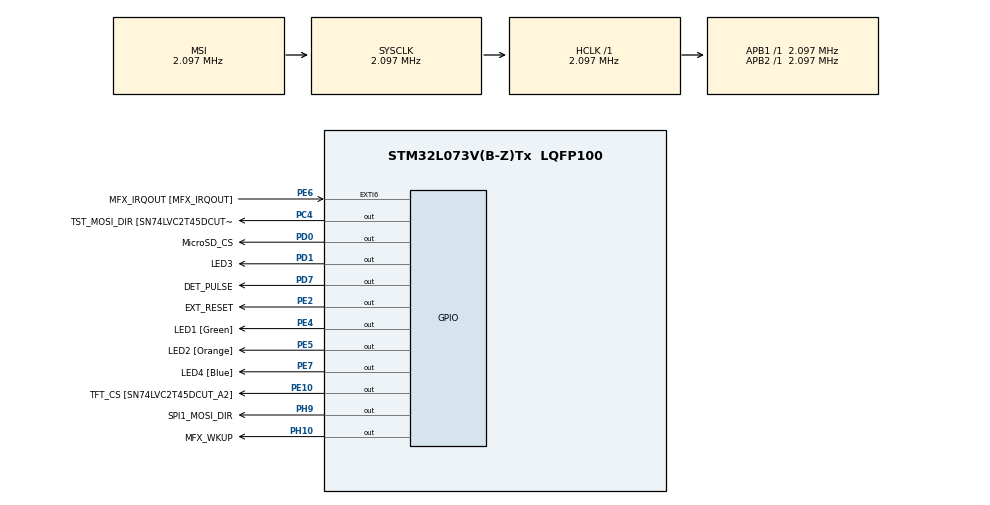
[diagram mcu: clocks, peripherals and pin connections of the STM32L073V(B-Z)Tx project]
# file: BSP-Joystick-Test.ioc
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Mcu.Family=STM32L0
Mcu.Name=STM32L073V(B-Z)Tx
Mcu.Package=LQFP100
NVIC.EXTI4_15_IRQn=true\:0\:0\:false\:false\:true\:true
PA0.GPIO_Label=PRESSURE [TSZ122IST_1]
PA0.Signal=ADC_IN0
PA11.GPIO_Label=USB_DM
PA11.Signal=USB_DM
PA12.GPIO_Label=USB_DP
PA12.Signal=USB_DP
PA13.GPIO_Label=SWDIO
PA13.Signal=SYS_SWDIO
PA14.GPIO_Label=SWCLK
PA14.Signal=SYS_SWCLK
PA4.GPIO_Label=DAC OUT1
PA4.Signal=COMP_DAC1_group
PA5.GPIO_Label=ADC_IN5
PA5.Signal=ADC_IN5
PA7.GPIO_Label=DET_COMP2_OUT [TP18]
PA7.Signal=COMP2_OUT
PB3.GPIO_Label=DET_COMP2_INM
PB3.Signal=COMP2_INM
PB4.GPIO_Label=DET_COMP2_INP
PB4.Signal=COMP2_INP
PB5.GPIO_Label=TempSensor_INT [STLM75M2F_OS/INT]
PB5.Signal=I2C1_SMBA
PB6.GPIO_Label=I2C1_SCL [STLM75M2F_SCL]
PB6.Signal=I2C1_SCL
PB7.GPIO_Label=I2C1_SDA [STLM75M2F_SDA]
PB7.Signal=I2C1_SDA
PC0.GPIO_Label=DET_LPTIM_CH1 [TS862AIPT_9]
PC0.Signal=LPTIM1_IN1
PC13.GPIO_Label=KEY [B2]
PC13.Signal=SYS_WKUP2
PC14-OSC32_IN.Signal=RCC_OSC32_IN
PC15-OSC32_OUT.Signal=RCC_OSC32_OUT
PC4.GPIO_Label=TST_MOSI_DIR [SN74LVC2T45DCUT_DIR]
PC4.Signal=GPIO_Output
PD0.GPIO_Label=MicroSD_CS
PD0.Signal=GPIO_Output
PD1.GPIO_Label=LED3
PD1.GPIO_ModeDefaultOutputPP=GPIO_MODE_OUTPUT_OD
PD1.Signal=GPIO_Output
PD11.GPIO_Label=LPUART_CTS_3V3 [ST3241EBPR_R4OUT]
PD11.Signal=LPUART1_CTS
PD12.GPIO_Label=LPUART_RTS [SN74LVC2T45DCUT_A2]
PD12.Signal=LPUART1_RTS
PD3.GPIO_Label=USART2_CTS_3V3 [ST3241EBPR_R4OUT]
PD3.Signal=USART2_CTS
PD4.GPIO_Label=USART2_RTS [N74LVC2T45DCUT_A2]
PD4.Signal=USART2_RTS
PD5.GPIO_Label=USART2_TX [N74LVC2T45DCUT_A1]
PD5.Signal=USART2_TX
PD6.GPIO_Label=USART2_RX_3V3 [ST3241EBPR_R3OUT]
PD6.Signal=USART2_RX
PD7.GPIO_Label=DET_PULSE
PD7.GPIO_ModeDefaultOutputPP=GPIO_MODE_OUTPUT_OD
PD7.Signal=GPIO_Output
PD8.GPIO_Label=LPUART_TX [SN74LVC2T45DCUT_A1]
PD8.Signal=LPUART1_TX
PD9.GPIO_Label=LPUART_RX_3V3 [ST3241EBPR_R3OUT]
PD9.Signal=LPUART1_RX
PE10.GPIO_Label=TFT_CS [SN74LVC2T45DCUT_A2]
PE10.Signal=GPIO_Output
PE13.GPIO_Label=SPI1_SCK [SN74LVC2T45DCUT_A1]
PE13.Signal=SPI1_SCK
PE14.GPIO_Label=SPI1_MISO_3V3
PE14.Signal=SPI1_MISO
PE15.GPIO_Label=SPI1_MOSI [SN74LVC2T45DCUT_A1]
PE15.Signal=SPI1_MOSI
PE2.GPIO_Label=EXT_RESET
PE2.Signal=GPIO_Output
PE4.GPIO_Label=LED1 [Green]
PE4.GPIO_ModeDefaultOutputPP=GPIO_MODE_OUTPUT_OD
PE4.Signal=GPIO_Output
PE5.GPIO_Label=LED2 [Orange]
PE5.GPIO_ModeDefaultOutputPP=GPIO_MODE_OUTPUT_OD
PE5.Signal=GPIO_Output
PE6.GPIO_Label=MFX_IRQOUT [MFX_IRQOUT]
PE6.Signal=GPXTI6
PE7.GPIO_Label=LED4 [Blue]
PE7.GPIO_ModeDefaultOutputPP=GPIO_MODE_OUTPUT_OD
PE7.Signal=GPIO_Output
PE8.GPIO_Label=USART4_TX [SN74LVC2T45DCUT_A1]
PE8.Signal=USART4_TX
PE9.GPIO_Label=USART4_RX_3V3
PE9.Signal=USART4_RX
PH10.GPIO_Label=MFX_WKUP
PH10.Signal=GPIO_Output
PH9.GPIO_Label=SPI1_MOSI_DIR
PH9.Signal=GPIO_Output
ProjectManager.HeapSize=0x200
ProjectManager.StackSize=0x400
ProjectManager.TargetToolchain=SW4STM32
RCC.AHBFreq_Value=2097000
RCC.APB1Freq_Value=2097000
RCC.APB1TimFreq_Value=2097000
RCC.APB2Freq_Value=2097000
RCC.APB2TimFreq_Value=2097000
RCC.HSE_VALUE=8000000
RCC.HSI16_VALUE=16000000
RCC.HSI48_VALUE=48000000
RCC.HSI_VALUE=16000000
RCC.LSE_VALUE=32768
RCC.MSI_VALUE=2097000
RCC.SYSCLKFreq_VALUE=2097000
RCC.VCOOutputFreq_Value=48000000
SH.COMP_DAC1_group.0=DAC_OUT1
board=STM32L073Z-EVAL

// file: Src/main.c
/**
  ******************************************************************************
  * File Name          : main.c
  * Description        : Main program body
  ******************************************************************************
  ** This notice applies to any and all portions of this file
  * that are not between comment pairs USER CODE BEGIN and
  * USER CODE END. Other portions of this file, whether
  * inserted by the user or by software development tools
  * are owned by their respective copyright owners.
  *
  * COPYRIGHT(c) 2017 STMicroelectronics
  *
  * Redistribution and use in source and binary forms, with or without modification,
  * are permitted provided that the following conditions are met:
  *   1. Redistributions of source code must retain the above copyright notice,
  *      this list of conditions and the following disclaimer.
  *   2. Redistributions in binary form must reproduce the above copyright notice,
  *      this list of conditions and the following disclaimer in the documentation
  *      and/or other materials provided with the distribution.
  *   3. Neither the name of STMicroelectronics nor the names of its contributors
  *      may be used to endorse or promote products derived from this software
  *      without specific prior written permission.
  *
  * THIS SOFTWARE IS PROVIDED BY THE COPYRIGHT HOLDERS AND CONTRIBUTORS "AS IS"
  * AND ANY EXPRESS OR IMPLIED WARRANTIES, INCLUDING, BUT NOT LIMITED TO, THE
  * IMPLIED WARRANTIES OF MERCHANTABILITY AND FITNESS FOR A PARTICULAR PURPOSE ARE
  * DISCLAIMED. IN NO EVENT SHALL THE COPYRIGHT HOLDER OR CONTRIBUTORS BE LIABLE
  * FOR ANY DIRECT, INDIRECT, INCIDENTAL, SPECIAL, EXEMPLARY, OR CONSEQUENTIAL
  * DAMAGES (INCLUDING, BUT NOT LIMITED TO, PROCUREMENT OF SUBSTITUTE GOODS OR
  * SERVICES; LOSS OF USE, DATA, OR PROFITS; OR BUSINESS INTERRUPTION) HOWEVER
  * CAUSED AND ON ANY THEORY OF LIABILITY, WHETHER IN CONTRACT, STRICT LIABILITY,
  * OR TORT (INCLUDING NEGLIGENCE OR OTHERWISE) ARISING IN ANY WAY OUT OF THE USE
  * OF THIS SOFTWARE, EVEN IF ADVISED OF THE POSSIBILITY OF SUCH DAMAGE.
  *
  ******************************************************************************
  */

#include "main.h"
#include "stm32l0xx_hal.h"
#include "gpio.h"

/* USER CODE BEGIN Includes */
#include "stm32l073z_eval.h"
/* USER CODE END Includes */

/* USER CODE BEGIN PV */
/* Private variables ---------------------------------------------------------*/

/* USER CODE END PV */

void SystemClock_Config(void);

/* USER CODE BEGIN PFP */
/* Private function prototypes -----------------------------------------------*/

/* USER CODE END PFP */

int main(void)
{

  /* MCU Configuration----------------------------------------------------------*/

  /* Reset of all peripherals, Initializes the Flash interface and the Systick. */
  HAL_Init();

  /* Configure the system clock */
  SystemClock_Config();

  /* Initialize all configured peripherals */
  MX_GPIO_Init();

  /* USER CODE BEGIN 2 */
  BSP_LED_Init(LED1);
  BSP_LED_Init(LED2);
  BSP_LED_Init(LED3);
  BSP_LED_Init(LED4);

  BSP_JOY_Init(JOY_MODE_GPIO);
  /* USER CODE END 2 */

  /* Infinite loop */
  /* USER CODE BEGIN WHILE */
  while (1)
  {
      switch (BSP_JOY_GetState()) {
      case JOY_SEL:
          BSP_LED_On(LED1);
          BSP_LED_On(LED2);
          BSP_LED_On(LED3);
          BSP_LED_On(LED4);
          break;
      case JOY_LEFT:
          BSP_LED_On(LED4);
          break;
      case JOY_UP:
          BSP_LED_On(LED3);
          break;
      case JOY_DOWN:
          BSP_LED_On(LED2);
          break;
      case JOY_RIGHT:
          BSP_LED_On(LED1);
          break;
      case JOY_NONE:
      default:
          BSP_LED_Off(LED1);
          BSP_LED_Off(LED2);
          BSP_LED_Off(LED3);
          BSP_LED_Off(LED4);
      }
  }
  /* USER CODE END WHILE */

}

/** System Clock Configuration
*/
void SystemClock_Config(void)
{

  RCC_OscInitTypeDef RCC_OscInitStruct;
  RCC_ClkInitTypeDef RCC_ClkInitStruct;

    /**Configure the main internal regulator output voltage
    */
  __HAL_PWR_VOLTAGESCALING_CONFIG(PWR_REGULATOR_VOLTAGE_SCALE1);

    /**Initializes the CPU, AHB and APB busses clocks
    */
  RCC_OscInitStruct.OscillatorType = RCC_OSCILLATORTYPE_MSI;
  RCC_OscInitStruct.MSIState = RCC_MSI_ON;
  RCC_OscInitStruct.MSICalibrationValue = 0;
  RCC_OscInitStruct.MSIClockRange = RCC_MSIRANGE_5;
  RCC_OscInitStruct.PLL.PLLState = RCC_PLL_NONE;
  if (HAL_RCC_OscConfig(&RCC_OscInitStruct) != HAL_OK)
  {
    _Error_Handler(__FILE__, __LINE__);
  }

    /**Initializes the CPU, AHB and APB busses clocks
    */
  RCC_ClkInitStruct.ClockType = RCC_CLOCKTYPE_HCLK|RCC_CLOCKTYPE_SYSCLK
                              |RCC_CLOCKTYPE_PCLK1|RCC_CLOCKTYPE_PCLK2;
  RCC_ClkInitStruct.SYSCLKSource = RCC_SYSCLKSOURCE_MSI;
  RCC_ClkInitStruct.AHBCLKDivider = RCC_SYSCLK_DIV1;
  RCC_ClkInitStruct.APB1CLKDivider = RCC_HCLK_DIV1;
  RCC_ClkInitStruct.APB2CLKDivider = RCC_HCLK_DIV1;

  if (HAL_RCC_ClockConfig(&RCC_ClkInitStruct, FLASH_LATENCY_0) != HAL_OK)
  {
    _Error_Handler(__FILE__, __LINE__);
  }

    /**Configure the Systick interrupt time
    */
  HAL_SYSTICK_Config(HAL_RCC_GetHCLKFreq()/1000);

    /**Configure the Systick
    */
  HAL_SYSTICK_CLKSourceConfig(SYSTICK_CLKSOURCE_HCLK);

  /* SysTick_IRQn interrupt configuration */
  HAL_NVIC_SetPriority(SysTick_IRQn, 0, 0);
}

void _Error_Handler(char * file, int line)
{
  while(1)
  {
  }
}

/************************ (C) COPYRIGHT STMicroelectronics *****END OF FILE****/
